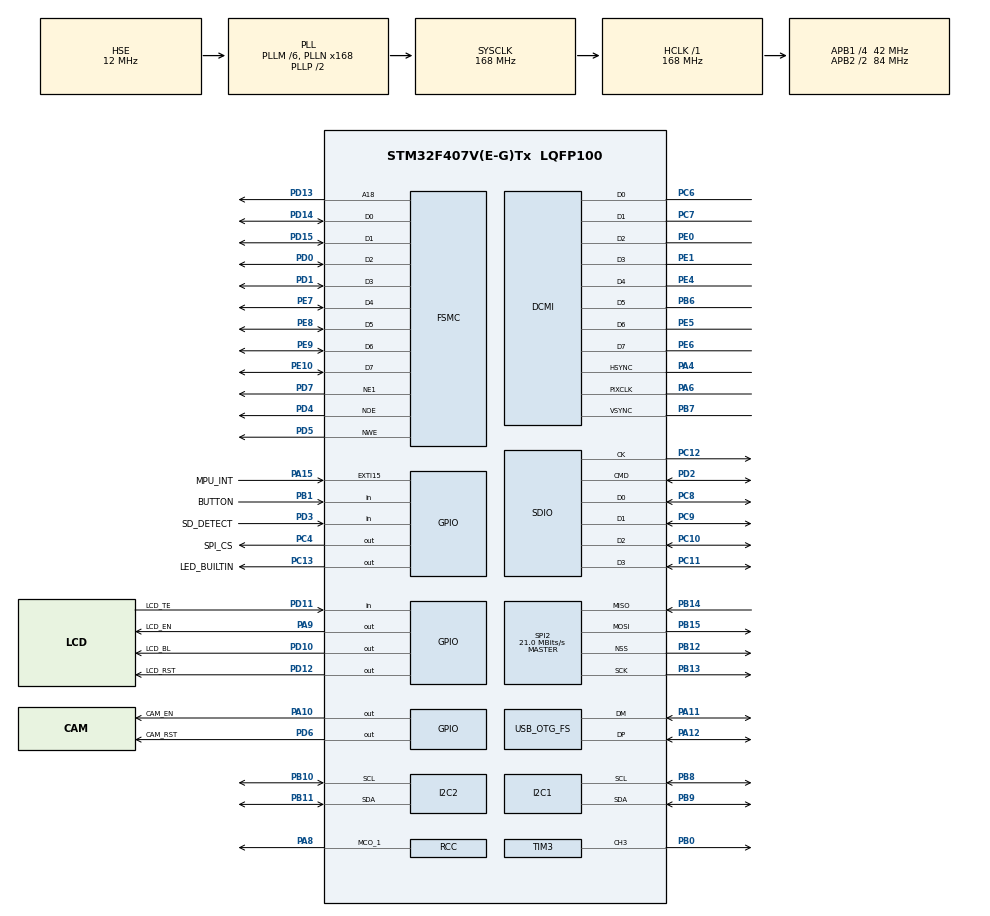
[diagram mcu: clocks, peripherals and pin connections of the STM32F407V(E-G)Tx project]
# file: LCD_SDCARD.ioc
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DCMI.JPEGMode=DCMI_JPEG_DISABLE
DCMI.PCKPolarity=DCMI_PCKPOLARITY_RISING
DCMI.VSPolarity=DCMI_VSPOLARITY_HIGH
Dma.DCMI.0.Direction=DMA_PERIPH_TO_MEMORY
Dma.DCMI.0.FIFOMode=DMA_FIFOMODE_DISABLE
Dma.DCMI.0.Instance=DMA2_Stream1
Dma.DCMI.0.MemDataAlignment=DMA_MDATAALIGN_WORD
Dma.DCMI.0.MemInc=DMA_MINC_ENABLE
Dma.DCMI.0.Mode=DMA_CIRCULAR
Dma.DCMI.0.PeriphDataAlignment=DMA_PDATAALIGN_WORD
Dma.DCMI.0.PeriphInc=DMA_PINC_DISABLE
Dma.DCMI.0.Priority=DMA_PRIORITY_VERY_HIGH
Dma.MEMTOMEM.1.Direction=DMA_MEMORY_TO_MEMORY
Dma.MEMTOMEM.1.FIFOMode=DMA_FIFOMODE_ENABLE
Dma.MEMTOMEM.1.FIFOThreshold=DMA_FIFO_THRESHOLD_FULL
Dma.MEMTOMEM.1.Instance=DMA2_Stream2
Dma.MEMTOMEM.1.MemBurst=DMA_MBURST_SINGLE
Dma.MEMTOMEM.1.MemDataAlignment=DMA_MDATAALIGN_HALFWORD
Dma.MEMTOMEM.1.MemInc=DMA_MINC_ENABLE
Dma.MEMTOMEM.1.Mode=DMA_NORMAL
Dma.MEMTOMEM.1.PeriphBurst=DMA_PBURST_SINGLE
Dma.MEMTOMEM.1.PeriphDataAlignment=DMA_PDATAALIGN_HALFWORD
Dma.MEMTOMEM.1.PeriphInc=DMA_PINC_DISABLE
Dma.MEMTOMEM.1.Priority=DMA_PRIORITY_VERY_HIGH
Dma.MEMTOMEM.2.Direction=DMA_MEMORY_TO_MEMORY
Dma.MEMTOMEM.2.FIFOMode=DMA_FIFOMODE_ENABLE
Dma.MEMTOMEM.2.FIFOThreshold=DMA_FIFO_THRESHOLD_FULL
Dma.MEMTOMEM.2.Instance=DMA2_Stream4
Dma.MEMTOMEM.2.MemBurst=DMA_MBURST_SINGLE
Dma.MEMTOMEM.2.MemDataAlignment=DMA_MDATAALIGN_HALFWORD
Dma.MEMTOMEM.2.MemInc=DMA_MINC_ENABLE
Dma.MEMTOMEM.2.Mode=DMA_NORMAL
Dma.MEMTOMEM.2.PeriphBurst=DMA_PBURST_SINGLE
Dma.MEMTOMEM.2.PeriphDataAlignment=DMA_PDATAALIGN_HALFWORD
Dma.MEMTOMEM.2.PeriphInc=DMA_PINC_ENABLE
Dma.MEMTOMEM.2.Priority=DMA_PRIORITY_VERY_HIGH
Dma.Request0=DCMI
Dma.Request1=MEMTOMEM
Dma.Request2=MEMTOMEM
Dma.Request3=SDIO_RX
Dma.Request4=SDIO_TX
Dma.SDIO_RX.3.Direction=DMA_PERIPH_TO_MEMORY
Dma.SDIO_RX.3.FIFOMode=DMA_FIFOMODE_ENABLE
Dma.SDIO_RX.3.FIFOThreshold=DMA_FIFO_THRESHOLD_FULL
Dma.SDIO_RX.3.Instance=DMA2_Stream3
Dma.SDIO_RX.3.MemBurst=DMA_MBURST_INC4
Dma.SDIO_RX.3.MemDataAlignment=DMA_MDATAALIGN_WORD
Dma.SDIO_RX.3.MemInc=DMA_MINC_ENABLE
Dma.SDIO_RX.3.Mode=DMA_PFCTRL
Dma.SDIO_RX.3.PeriphBurst=DMA_PBURST_INC4
Dma.SDIO_RX.3.PeriphDataAlignment=DMA_PDATAALIGN_WORD
Dma.SDIO_RX.3.PeriphInc=DMA_PINC_DISABLE
Dma.SDIO_RX.3.Priority=DMA_PRIORITY_HIGH
Dma.SDIO_TX.4.Direction=DMA_MEMORY_TO_PERIPH
Dma.SDIO_TX.4.FIFOMode=DMA_FIFOMODE_ENABLE
Dma.SDIO_TX.4.FIFOThreshold=DMA_FIFO_THRESHOLD_FULL
Dma.SDIO_TX.4.Instance=DMA2_Stream6
Dma.SDIO_TX.4.MemBurst=DMA_MBURST_INC4
Dma.SDIO_TX.4.MemDataAlignment=DMA_MDATAALIGN_WORD
Dma.SDIO_TX.4.MemInc=DMA_MINC_ENABLE
Dma.SDIO_TX.4.Mode=DMA_PFCTRL
Dma.SDIO_TX.4.PeriphBurst=DMA_PBURST_INC4
Dma.SDIO_TX.4.PeriphDataAlignment=DMA_PDATAALIGN_WORD
Dma.SDIO_TX.4.PeriphInc=DMA_PINC_DISABLE
Dma.SDIO_TX.4.Priority=DMA_PRIORITY_HIGH
FATFS.BSP.number=1
FATFS.USE_DMA_CODE_SD=0
FATFS._MAX_SS=4096
FATFS._USE_LFN=1
FATFS0.BSP.STBoard=false
FATFS0.BSP.api=Unknown
FATFS0.BSP.instance=PD3
FATFS0.BSP.ip=GPIO
FATFS0.BSP.mode=Input
FATFS0.BSP.name=Detect_SDIO
FATFS0.BSP.solution=PD3
FSMC.AddressSetupTime1=2
FSMC.BusTurnAroundDuration1=1
FSMC.DataSetupTime1=4
I2C1.I2C_Mode=I2C_Fast
I2C2.I2C_Mode=I2C_Standard
Mcu.Family=STM32F4
Mcu.Name=STM32F407V(E-G)Tx
Mcu.Package=LQFP100
NVIC.DCMI_IRQn=true\:0\:0\:false\:false\:true\:true\:true\:true
NVIC.DMA2_Stream1_IRQn=true\:0\:0\:false\:false\:true\:false\:true\:true
NVIC.DMA2_Stream3_IRQn=true\:0\:0\:false\:false\:true\:false\:true\:true
NVIC.DMA2_Stream6_IRQn=true\:0\:0\:false\:false\:true\:false\:true\:true
NVIC.OTG_FS_IRQn=true\:0\:0\:false\:false\:true\:false\:true\:true
NVIC.PriorityGroup=NVIC_PRIORITYGROUP_4
NVIC.SDIO_IRQn=true\:0\:0\:false\:false\:true\:true\:true\:true
NVIC.TIM1_UP_TIM10_IRQn=true\:15\:0\:false\:false\:true\:false\:true\:true
NVIC.TIM7_IRQn=true\:0\:0\:false\:false\:true\:true\:true\:true
NVIC.TIM8_TRG_COM_TIM14_IRQn=true\:0\:0\:false\:false\:true\:true\:true\:true
NVIC.TimeBase=TIM1_UP_TIM10_IRQn
NVIC.TimeBaseIP=TIM1
PA10.GPIO_Label=CAM_EN
PA10.GPIO_ModeDefaultOutputPP=GPIO_MODE_OUTPUT_OD
PA10.Signal=GPIO_Output
PA11.Mode=Device_Only
PA11.Signal=USB_OTG_FS_DM
PA12.Mode=Device_Only
PA12.Signal=USB_OTG_FS_DP
PA13.Mode=Serial_Wire
PA13.Signal=SYS_JTMS-SWDIO
PA14.Mode=Serial_Wire
PA14.Signal=SYS_JTCK-SWCLK
PA15.GPIO_Label=MPU_INT
PA15.GPIO_ModeDefaultEXTI=GPIO_MODE_IT_FALLING
PA15.GPIO_PuPd=GPIO_PULLUP
PA15.Signal=GPXTI15
PA4.GPIO_Speed=GPIO_SPEED_FREQ_VERY_HIGH
PA4.Mode=Slave_8_bits_External_Synchro
PA4.Signal=DCMI_HSYNC
PA6.GPIO_Speed=GPIO_SPEED_FREQ_VERY_HIGH
PA6.Mode=Slave_8_bits_External_Synchro
PA6.Signal=DCMI_PIXCLK
PA8.GPIO_Speed=GPIO_SPEED_FREQ_VERY_HIGH
PA8.Mode=Clock-out-1
PA8.Signal=RCC_MCO_1
PA9.GPIO_Label=LCD_EN
PA9.GPIO_ModeDefaultOutputPP=GPIO_MODE_OUTPUT_OD
PA9.Signal=GPIO_Output
PB0.Signal=S_TIM3_CH3
PB1.GPIO_Label=BUTTON
PB1.GPIO_PuPd=GPIO_PULLUP
PB1.Signal=GPIO_Input
PB10.GPIO_Pu=GPIO_PULLUP
PB10.Mode=I2C
PB10.Signal=I2C2_SCL
PB11.GPIO_Pu=GPIO_PULLUP
PB11.Mode=I2C
PB11.Signal=I2C2_SDA
PB12.Mode=NSS_Signal_Hard_Output
PB12.Signal=SPI2_NSS
PB13.Mode=Full_Duplex_Master
PB13.Signal=SPI2_SCK
PB14.Mode=Full_Duplex_Master
PB14.Signal=SPI2_MISO
PB15.Mode=Full_Duplex_Master
PB15.Signal=SPI2_MOSI
PB6.GPIO_Speed=GPIO_SPEED_FREQ_VERY_HIGH
PB6.Mode=Slave_8_bits_External_Synchro
PB6.Signal=DCMI_D5
PB7.GPIO_Speed=GPIO_SPEED_FREQ_VERY_HIGH
PB7.Mode=Slave_8_bits_External_Synchro
PB7.Signal=DCMI_VSYNC
PB8.GPIO_Pu=GPIO_PULLUP
PB8.Mode=I2C
PB8.Signal=I2C1_SCL
PB9.GPIO_Pu=GPIO_PULLUP
PB9.Mode=I2C
PB9.Signal=I2C1_SDA
PC10.GPIO_PuPd=GPIO_PULLUP
PC10.Mode=SD_4_bits_Wide_bus
PC10.Signal=SDIO_D2
PC11.GPIO_PuPd=GPIO_PULLUP
PC11.Mode=SD_4_bits_Wide_bus
PC11.Signal=SDIO_D3
PC12.GPIO_PuPd=GPIO_PULLUP
PC12.Mode=SD_4_bits_Wide_bus
PC12.Signal=SDIO_CK
PC13-ANTI_TAMP.GPIO_Label=LED_BUILTIN
PC13-ANTI_TAMP.Signal=GPIO_Output
PC14-OSC32_IN.Mode=LSE-External-Clock-Source
PC14-OSC32_IN.Signal=RCC_OSC32_IN
PC15-OSC32_OUT.Mode=LSE-External-Clock-Source
PC15-OSC32_OUT.Signal=RCC_OSC32_OUT
PC4.GPIO_Label=SPI_CS
PC4.GPIO_Speed=GPIO_SPEED_FREQ_VERY_HIGH
PC4.Signal=GPIO_Output
PC6.GPIO_Speed=GPIO_SPEED_FREQ_VERY_HIGH
PC6.Mode=Slave_8_bits_External_Synchro
PC6.Signal=DCMI_D0
PC7.GPIO_Speed=GPIO_SPEED_FREQ_VERY_HIGH
PC7.Mode=Slave_8_bits_External_Synchro
PC7.Signal=DCMI_D1
PC8.GPIO_PuPd=GPIO_PULLUP
PC8.Mode=SD_4_bits_Wide_bus
PC8.Signal=SDIO_D0
PC9.GPIO_PuPd=GPIO_PULLUP
PC9.Mode=SD_4_bits_Wide_bus
PC9.Signal=SDIO_D1
PD0.Mode=8b-d1
PD0.Signal=FSMC_D2
PD1.Mode=8b-d1
PD1.Signal=FSMC_D3
PD10.GPIO_Label=LCD_BL
PD10.GPIO_Speed=GPIO_SPEED_FREQ_VERY_HIGH
PD10.Signal=GPIO_Output
PD11.GPIO_Label=LCD_TE
PD11.Signal=GPIO_Input
PD12.GPIO_Label=LCD_RST
PD12.Signal=GPIO_Output
PD13.Mode=A18_1
PD13.Signal=FSMC_A18
PD14.Mode=8b-d1
PD14.Signal=FSMC_D0
PD15.Mode=8b-d1
PD15.Signal=FSMC_D1
PD2.GPIO_PuPd=GPIO_PULLUP
PD2.Mode=SD_4_bits_Wide_bus
PD2.Signal=SDIO_CMD
PD3.GPIO_Label=SD_DETECT
PD3.GPIO_PuPd=GPIO_PULLUP
PD3.Signal=GPIO_Input
PD4.Mode=Lcd1
PD4.Signal=FSMC_NOE
PD5.Mode=Lcd1
PD5.Signal=FSMC_NWE
PD6.GPIO_Label=CAM_RST
PD6.Signal=GPIO_Output
PD7.Mode=NorPsramChipSelect1_1
PD7.Signal=FSMC_NE1
PE0.GPIO_Speed=GPIO_SPEED_FREQ_VERY_HIGH
PE0.Mode=Slave_8_bits_External_Synchro
PE0.Signal=DCMI_D2
PE1.GPIO_Speed=GPIO_SPEED_FREQ_VERY_HIGH
PE1.Mode=Slave_8_bits_External_Synchro
PE1.Signal=DCMI_D3
PE10.Mode=8b-d1
PE10.Signal=FSMC_D7
PE4.GPIO_Speed=GPIO_SPEED_FREQ_VERY_HIGH
PE4.Mode=Slave_8_bits_External_Synchro
PE4.Signal=DCMI_D4
PE5.GPIO_Speed=GPIO_SPEED_FREQ_VERY_HIGH
PE5.Mode=Slave_8_bits_External_Synchro
PE5.Signal=DCMI_D6
PE6.GPIO_Speed=GPIO_SPEED_FREQ_VERY_HIGH
PE6.Mode=Slave_8_bits_External_Synchro
PE6.Signal=DCMI_D7
PE7.Mode=8b-d1
PE7.Signal=FSMC_D4
PE8.Mode=8b-d1
PE8.Signal=FSMC_D5
PE9.Mode=8b-d1
PE9.Signal=FSMC_D6
PH0-OSC_IN.Mode=HSE-External-Oscillator
PH0-OSC_IN.Signal=RCC_OSC_IN
PH1-OSC_OUT.Mode=HSE-External-Oscillator
PH1-OSC_OUT.Signal=RCC_OSC_OUT
ProjectManager.HeapSize=0x800
ProjectManager.StackSize=0x800
ProjectManager.TargetToolchain=STM32CubeIDE
RCC.48MHZClocksFreq_Value=48000000
RCC.AHBFreq_Value=168000000
RCC.APB1CLKDivider=RCC_HCLK_DIV4
RCC.APB1Freq_Value=42000000
RCC.APB1TimFreq_Value=84000000
RCC.APB2CLKDivider=RCC_HCLK_DIV2
RCC.APB2Freq_Value=84000000
RCC.APB2TimFreq_Value=168000000
RCC.CortexFreq_Value=168000000
RCC.HCLKFreq_Value=168000000
RCC.HSE_VALUE=12000000
RCC.HSI_VALUE=16000000
RCC.LSE_VALUE=32768
RCC.PLLM=6
RCC.PLLN=168
RCC.PLLQ=7
RCC.SYSCLKFreq_VALUE=168000000
RCC.SYSCLKSource=RCC_SYSCLKSOURCE_PLLCLK
RCC.VCOOutputFreq_Value=336000000
SDIO.ClockBypass=SDIO_CLOCK_BYPASS_DISABLE
SDIO.ClockDiv=6
SH.S_TIM3_CH3.0=TIM3_CH3,PWM Generation3 CH3
SPI2.CalculateBaudRate=21.0 MBits/s
SPI2.Direction=SPI_DIRECTION_2LINES
SPI2.Mode=SPI_MODE_MASTER
SPI2.VirtualNSS=VM_NSSHARD
SPI2.VirtualType=VM_MASTER
STMicroelectronics.X-CUBE-AI.10.0.0.ActivationBufferSizeList=1940
STMicroelectronics.X-CUBE-AI.10.0.0.ActivationBuffers=pool0
STMicroelectronics.X-CUBE-AI.10.0.0.ActivationNames=pool0
STMicroelectronics.X-CUBE-AI.10.0.0.ActivationSizes=AI_SINE_MODEL_DATA_ACTIVATION_1_SIZE
STMicroelectronics.X-CUBE-AI.10.0.0.HeapSize=0x800
STMicroelectronics.X-CUBE-AI.10.0.0.InternalRamActivationBufferMaxSize=AI_SINE_MODEL_DATA_ACTIVATIONS_SIZE
STMicroelectronics.X-CUBE-AI.10.0.0.LatestDirectoryUsed-f165e0510bb90ee12f32234d01c759a068e3e507d0a64d8100736226e8678322=C\:\\Users\\munir\\Documents\\PROJECT-2025\\STM32-AI
STMicroelectronics.X-CUBE-AI.10.0.0.MaximumNumberOfInputLayer=1
STMicroelectronics.X-CUBE-AI.10.0.0.MaximumNumberOfOutputLayer=1
STMicroelectronics.X-CUBE-AI.10.0.0.MaximumSizeOfInputLayer=1
STMicroelectronics.X-CUBE-AI.10.0.0.MaximumSizeOfOutputLayer=1
STMicroelectronics.X-CUBE-AI.10.0.0.ModelActualCompression-f165e0510bb90ee12f32234d01c759a068e3e507d0a64d8100736226e8678322=0.0
STMicroelectronics.X-CUBE-AI.10.0.0.ModelCompression-f165e0510bb90ee12f32234d01c759a068e3e507d0a64d8100736226e8678322=None
STMicroelectronics.X-CUBE-AI.10.0.0.ModelFlashOccupation-f165e0510bb90ee12f32234d01c759a068e3e507d0a64d8100736226e8678322=10126
STMicroelectronics.X-CUBE-AI.10.0.0.ModelHashList=f165e0510bb90ee12f32234d01c759a068e3e507d0a64d8100736226e8678322
STMicroelectronics.X-CUBE-AI.10.0.0.ModelKind-f165e0510bb90ee12f32234d01c759a068e3e507d0a64d8100736226e8678322=TFLITE
STMicroelectronics.X-CUBE-AI.10.0.0.ModelMacc-f165e0510bb90ee12f32234d01c759a068e3e507d0a64d8100736226e8678322=353
STMicroelectronics.X-CUBE-AI.10.0.0.ModelName-f165e0510bb90ee12f32234d01c759a068e3e507d0a64d8100736226e8678322=sine_model
STMicroelectronics.X-CUBE-AI.10.0.0.ModelNameList=sine_model
STMicroelectronics.X-CUBE-AI.10.0.0.ModelRamOccupation-f165e0510bb90ee12f32234d01c759a068e3e507d0a64d8100736226e8678322=1940
STMicroelectronics.X-CUBE-AI.10.0.0.ModelStructureFile-f165e0510bb90ee12f32234d01c759a068e3e507d0a64d8100736226e8678322=C\:\\Users\\munir\\Documents\\PROJECT-2025\\STM32-AI\\sine_model.tflite
STMicroelectronics.X-CUBE-AI.10.0.0.ModelType-f165e0510bb90ee12f32234d01c759a068e3e507d0a64d8100736226e8678322=STM32Cube.AI MCU runtime
STMicroelectronics.X-CUBE-AI.10.0.0.ReadyForCodeGeneration=true
STMicroelectronics.X-CUBE-AI.10.0.0.StackSize=0x800
STMicroelectronics.X-CUBE-AI.10.0.0.WorkingBufferStartAddrList=0xFFFFFFFF
STMicroelectronics.X-CUBE-AI.10.0.0.XAaCUBEAaAICcArtificialOoIntelligenceJjCore=true
STMicroelectronics.X-CUBE-AI.10.0.0.copyWeightToRam=false
STMicroelectronics.X-CUBE-AI.10.0.0.copyWeightToRam-f165e0510bb90ee12f32234d01c759a068e3e507d0a64d8100736226e8678322=false
STMicroelectronics.X-CUBE-AI.10.0.0.customLayerConfigEnabled=false
STMicroelectronics.X-CUBE-AI.10.0.0.customLayerConfigEnabled-f165e0510bb90ee12f32234d01c759a068e3e507d0a64d8100736226e8678322=false
STMicroelectronics.X-CUBE-AI.10.0.0.noOnnxIoTranspose=false
STMicroelectronics.X-CUBE-AI.10.0.0.noOnnxIoTranspose-f165e0510bb90ee12f32234d01c759a068e3e507d0a64d8100736226e8678322=false
STMicroelectronics.X-CUBE-AI.10.0.0.useInputAllocation=true
STMicroelectronics.X-CUBE-AI.10.0.0.useInputAllocation-f165e0510bb90ee12f32234d01c759a068e3e507d0a64d8100736226e8678322=true
STMicroelectronics.X-CUBE-AI.10.0.0.useOutputAllocation=true
STMicroelectronics.X-CUBE-AI.10.0.0.useOutputAllocation-f165e0510bb90ee12f32234d01c759a068e3e507d0a64d8100736226e8678322=true
STMicroelectronics.X-CUBE-DISPLAY.3.0.0.BSP.number=1
STMicroelectronics.X-CUBE-DISPLAY.3.0.0.p_fmc_dma_instance_name=DMA1_Channel1
STMicroelectronics.X-CUBE-DISPLAY.3.0.00.BSP.STBoard=false
STMicroelectronics.X-CUBE-DISPLAY.3.0.00.BSP.api=Unknown
STMicroelectronics.X-CUBE-DISPLAY.3.0.00.BSP.condition=SEMDISPLAYCcBoardOoPartJjLCDJjST7789VJjSPI | SEMDISPLAYCcBoardOoPartJjLCDJjST7789VJjFMC
STMicroelectronics.X-CUBE-DISPLAY.3.0.00.BSP.instance=PD12
STMicroelectronics.X-CUBE-DISPLAY.3.0.00.BSP.ip=GPIO
STMicroelectronics.X-CUBE-DISPLAY.3.0.00.BSP.mode=Output
STMicroelectronics.X-CUBE-DISPLAY.3.0.00.BSP.name=LCD RESET Pin
STMicroelectronics.X-CUBE-DISPLAY.3.0.00.BSP.solution=PD12
STMicroelectronics.X-CUBE-DISPLAY.3.0.0_IsPackSelfContextualization=true
TIM14.Channel=TIM_CHANNEL_1
TIM14.OCMode_1=TIM_OCMODE_ACTIVE
TIM14.Period=255
TIM14.Prescaler=168
TIM2.Prescaler=84
TIM3.AutoReloadPreload=TIM_AUTORELOAD_PRELOAD_ENABLE
TIM3.Channel-PWM\ Generation3\ CH3=TIM_CHANNEL_3
TIM3.Period=839
TIM3.Prescaler=7
TIM7.Period=100
TIM7.Prescaler=167
USB_DEVICE.CLASS_NAME_FS=MSC
USB_DEVICE.VirtualMode-MSC_FS=Msc
USB_DEVICE.VirtualModeFS=Msc_FS
USB_OTG_FS.VirtualMode=Device_Only
VP_CRC_VS_CRC.Mode=CRC_Activate
VP_FATFS_VS_SDIO.Mode=SDIO
VP_LIBJPEG_VS_JPEGLIB.Mode=Enabled
VP_STMicroelectronics.X-CUBE-AI_VS_ArtificialOoIntelligenceJjXAaCUBEAaAI_10.0.0.Mode=ArtificialOoIntelligenceJjXAaCUBEAaAI
VP_SYS_VS_tim1.Mode=TIM1
VP_TIM14_VS_ClockSourceINT.Mode=Enable_Timer
VP_TIM14_VS_no_output1.Mode=Output Compare1 No Output
VP_TIM2_VS_ClockSourceINT.Mode=Internal
VP_TIM3_VS_ClockSourceINT.Mode=Internal
VP_TIM7_VS_ClockSourceINT.Mode=Enable_Timer
VP_USB_DEVICE_VS_USB_DEVICE_MSC_FS.Mode=MSC_FS
board=custom

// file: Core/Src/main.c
/* USER CODE BEGIN Header */
/**
  ******************************************************************************
  * @file           : main.c
  * @brief          : Main program body
  ******************************************************************************
  * @attention
  *
  * <h2><center>&copy; Copyright (c) 2021 STMicroelectronics.
  * All rights reserved.</center></h2>
  *
  * This software component is licensed by ST under Ultimate Liberty license
  * SLA0044, the "License"; You may not use this file except in compliance with
  * the License. You may obtain a copy of the License at:
  *                             www.st.com/SLA0044
  *
  ******************************************************************************
  */
/* USER CODE END Header */
#include "main.h"
#include "fatfs.h"
#include "libjpeg.h"
#include "usb_device.h"

/* USER CODE BEGIN Includes */
#include "stdio.h"
#include "stdlib.h"
#include "math.h"
#include "ff.h"

#include "image_bin.h"
#include "jpeg_view.h"
#include "sirojuLIB_ov7670_SCCB.h"
#include "sirojuLIB_st7789.h"
#include "app_camera.h"
#include "app_lcd.h"
#include "bitmap_handler.h"
#include "file_explorer.h"

/* USER CODE END Includes */

/* USER CODE BEGIN PD */

#define MY_SDIO_INIT

#define APP_ADDRESS 0x08008000

/* USER CODE END PD */

CRC_HandleTypeDef hcrc;

DCMI_HandleTypeDef hdcmi;
DMA_HandleTypeDef hdma_dcmi;

I2C_HandleTypeDef hi2c1;
I2C_HandleTypeDef hi2c2;

SD_HandleTypeDef hsd;
DMA_HandleTypeDef hdma_sdio_rx;
DMA_HandleTypeDef hdma_sdio_tx;

SPI_HandleTypeDef hspi2;

TIM_HandleTypeDef htim2;
TIM_HandleTypeDef htim3;
TIM_HandleTypeDef htim7;
TIM_HandleTypeDef htim14;

DMA_HandleTypeDef hdma_memtomem_dma2_stream2;
DMA_HandleTypeDef hdma_memtomem_dma2_stream4;
SRAM_HandleTypeDef hsram1;

/* USER CODE BEGIN PV */

uint8_t camera_buffer[LCD_WIDTH*2] __attribute__((aligned(32)));
uint8_t frame_color_mask[LCD_WIDTH*LCD_HEIGHT / 8] __attribute__((section(".ccmram")));

/* USER CODE END PV */

void SystemClock_Config(void);
static void MX_GPIO_Init(void);
static void MX_DMA_Init(void);
static void MX_DCMI_Init(void);
static void MX_FSMC_Init(void);
static void MX_I2C1_Init(void);
static void MX_I2C2_Init(void);
static void MX_TIM3_Init(void);
static void MX_TIM7_Init(void);
static void MX_TIM2_Init(void);
static void MX_SDIO_SD_Init(void);
static void MX_SPI2_Init(void);
static void MX_TIM14_Init(void);
static void MX_CRC_Init(void);

int main(void)
{
  /* USER CODE BEGIN 1 */
	HAL_DeInit();
  /* USER CODE END 1 */

  /* MCU Configuration--------------------------------------------------------*/

  /* Reset of all peripherals, Initializes the Flash interface and the Systick. */
  HAL_Init();

  /* Configure the system clock */
  SystemClock_Config();

  /* Initialize all configured peripherals */
  MX_GPIO_Init();
  MX_DMA_Init();
  MX_DCMI_Init();
  MX_FSMC_Init();
//  MX_USB_DEVICE_Init();
  MX_I2C1_Init();
  MX_I2C2_Init();
  MX_TIM3_Init();
  MX_TIM7_Init();
  MX_TIM2_Init();
  MX_SDIO_SD_Init();
  MX_FATFS_Init();
  MX_SPI2_Init();
  MX_TIM14_Init();
  MX_CRC_Init();
  MX_LIBJPEG_Init();
  /* USER CODE BEGIN 2 */

  //https://www.freeconvert.com/gif-to-bmp
  lcd_init();
  lcd_set_backlight (50);

  text_set_color (0x07e0, 0x0000);
  text_clear_all ();
  lcd_print("FIRMWARE VERSION: 2.3.0\n");
  text_update_all();

  load_sd_card ();
//  HAL_Delay(100);

//  ST7789_Fill (0x0);
//  ST7789_printImage(60, 60, 120, 120, dudububu, _LSB_FIRST);
  HAL_Delay(3000);

  text_clear_all ();
  MX_USB_DEVICE_Init();

  camera_init ();
  camera_crop (0, 0, LCD_WIDTH*2-1, LCD_HEIGHT*2-1);

  /* USER CODE END 2 */

  /* Infinite loop */
  /* USER CODE BEGIN WHILE */
  while (1)
  {
	  show_file();

    /* USER CODE END WHILE */

  }
}

void SystemClock_Config(void)
{
  RCC_OscInitTypeDef RCC_OscInitStruct = {0};
  RCC_ClkInitTypeDef RCC_ClkInitStruct = {0};

  /** Configure the main internal regulator output voltage
  */
  __HAL_RCC_PWR_CLK_ENABLE();
  __HAL_PWR_VOLTAGESCALING_CONFIG(PWR_REGULATOR_VOLTAGE_SCALE1);

  /** Initializes the RCC Oscillators according to the specified parameters
  * in the RCC_OscInitTypeDef structure.
  */
  RCC_OscInitStruct.OscillatorType = RCC_OSCILLATORTYPE_HSI|RCC_OSCILLATORTYPE_HSE;
  RCC_OscInitStruct.HSEState = RCC_HSE_ON;
  RCC_OscInitStruct.HSIState = RCC_HSI_ON;
  RCC_OscInitStruct.HSICalibrationValue = RCC_HSICALIBRATION_DEFAULT;
  RCC_OscInitStruct.PLL.PLLState = RCC_PLL_ON;
  RCC_OscInitStruct.PLL.PLLSource = RCC_PLLSOURCE_HSE;
  RCC_OscInitStruct.PLL.PLLM = 6;
  RCC_OscInitStruct.PLL.PLLN = 168;
  RCC_OscInitStruct.PLL.PLLP = RCC_PLLP_DIV2;
  RCC_OscInitStruct.PLL.PLLQ = 7;
  if (HAL_RCC_OscConfig(&RCC_OscInitStruct) != HAL_OK)
  {
    Error_Handler();
  }

  /** Initializes the CPU, AHB and APB buses clocks
  */
  RCC_ClkInitStruct.ClockType = RCC_CLOCKTYPE_HCLK|RCC_CLOCKTYPE_SYSCLK
                              |RCC_CLOCKTYPE_PCLK1|RCC_CLOCKTYPE_PCLK2;
  RCC_ClkInitStruct.SYSCLKSource = RCC_SYSCLKSOURCE_PLLCLK;
  RCC_ClkInitStruct.AHBCLKDivider = RCC_SYSCLK_DIV1;
  RCC_ClkInitStruct.APB1CLKDivider = RCC_HCLK_DIV4;
  RCC_ClkInitStruct.APB2CLKDivider = RCC_HCLK_DIV2;

  if (HAL_RCC_ClockConfig(&RCC_ClkInitStruct, FLASH_LATENCY_5) != HAL_OK)
  {
    Error_Handler();
  }
  HAL_RCC_MCOConfig(RCC_MCO1, RCC_MCO1SOURCE_HSI, RCC_MCODIV_1);
}

static void MX_CRC_Init(void)
{

  hcrc.Instance = CRC;
  if (HAL_CRC_Init(&hcrc) != HAL_OK)
  {
    Error_Handler();
  }

}

static void MX_DCMI_Init(void)
{

  hdcmi.Instance = DCMI;
  hdcmi.Init.SynchroMode = DCMI_SYNCHRO_HARDWARE;
  hdcmi.Init.PCKPolarity = DCMI_PCKPOLARITY_RISING;
  hdcmi.Init.VSPolarity = DCMI_VSPOLARITY_HIGH;
  hdcmi.Init.HSPolarity = DCMI_HSPOLARITY_LOW;
  hdcmi.Init.CaptureRate = DCMI_CR_ALL_FRAME;
  hdcmi.Init.ExtendedDataMode = DCMI_EXTEND_DATA_8B;
  hdcmi.Init.JPEGMode = DCMI_JPEG_DISABLE;
  if (HAL_DCMI_Init(&hdcmi) != HAL_OK)
  {
    Error_Handler();
  }

}

static void MX_I2C1_Init(void)
{

  hi2c1.Instance = I2C1;
  hi2c1.Init.ClockSpeed = 400000;
  hi2c1.Init.DutyCycle = I2C_DUTYCYCLE_2;
  hi2c1.Init.OwnAddress1 = 0;
  hi2c1.Init.AddressingMode = I2C_ADDRESSINGMODE_7BIT;
  hi2c1.Init.DualAddressMode = I2C_DUALADDRESS_DISABLE;
  hi2c1.Init.OwnAddress2 = 0;
  hi2c1.Init.GeneralCallMode = I2C_GENERALCALL_DISABLE;
  hi2c1.Init.NoStretchMode = I2C_NOSTRETCH_DISABLE;
  if (HAL_I2C_Init(&hi2c1) != HAL_OK)
  {
    Error_Handler();
  }

}

static void MX_I2C2_Init(void)
{

  hi2c2.Instance = I2C2;
  hi2c2.Init.ClockSpeed = 100000;
  hi2c2.Init.DutyCycle = I2C_DUTYCYCLE_2;
  hi2c2.Init.OwnAddress1 = 0;
  hi2c2.Init.AddressingMode = I2C_ADDRESSINGMODE_7BIT;
  hi2c2.Init.DualAddressMode = I2C_DUALADDRESS_DISABLE;
  hi2c2.Init.OwnAddress2 = 0;
  hi2c2.Init.GeneralCallMode = I2C_GENERALCALL_DISABLE;
  hi2c2.Init.NoStretchMode = I2C_NOSTRETCH_DISABLE;
  if (HAL_I2C_Init(&hi2c2) != HAL_OK)
  {
    Error_Handler();
  }

}

static void MX_SDIO_SD_Init(void)
{

  /* USER CODE BEGIN SDIO_Init 1 */
#ifdef MY_SDIO_INIT
  hsd.Instance = SDIO;
  hsd.Init.ClockEdge = SDIO_CLOCK_EDGE_RISING;
  hsd.Init.ClockBypass = SDIO_CLOCK_BYPASS_DISABLE;
  hsd.Init.ClockPowerSave = SDIO_CLOCK_POWER_SAVE_DISABLE;
  hsd.Init.BusWide = SDIO_BUS_WIDE_1B;
  hsd.Init.HardwareFlowControl = SDIO_HARDWARE_FLOW_CONTROL_DISABLE;
  hsd.Init.ClockDiv = 18;

  if (HAL_SD_Init(&hsd) != HAL_OK)
  {
      Error_Handler();
  }
  if (HAL_SD_ConfigWideBusOperation(&hsd, SDIO_BUS_WIDE_4B) != HAL_OK)
  {
      Error_Handler();
  }
#else
  /* USER CODE END SDIO_Init 1 */
  hsd.Instance = SDIO;
  hsd.Init.ClockEdge = SDIO_CLOCK_EDGE_RISING;
  hsd.Init.ClockBypass = SDIO_CLOCK_BYPASS_DISABLE;
  hsd.Init.ClockPowerSave = SDIO_CLOCK_POWER_SAVE_DISABLE;
  hsd.Init.BusWide = SDIO_BUS_WIDE_4B;
  hsd.Init.HardwareFlowControl = SDIO_HARDWARE_FLOW_CONTROL_DISABLE;
  hsd.Init.ClockDiv = 6;
  /* USER CODE BEGIN SDIO_Init 2 */
#endif

  /* USER CODE END SDIO_Init 2 */

}

static void MX_SPI2_Init(void)
{

  /* SPI2 parameter configuration*/
  hspi2.Instance = SPI2;
  hspi2.Init.Mode = SPI_MODE_MASTER;
  hspi2.Init.Direction = SPI_DIRECTION_2LINES;
  hspi2.Init.DataSize = SPI_DATASIZE_8BIT;
  hspi2.Init.CLKPolarity = SPI_POLARITY_LOW;
  hspi2.Init.CLKPhase = SPI_PHASE_1EDGE;
  hspi2.Init.NSS = SPI_NSS_HARD_OUTPUT;
  hspi2.Init.BaudRatePrescaler = SPI_BAUDRATEPRESCALER_2;
  hspi2.Init.FirstBit = SPI_FIRSTBIT_MSB;
  hspi2.Init.TIMode = SPI_TIMODE_DISABLE;
  hspi2.Init.CRCCalculation = SPI_CRCCALCULATION_DISABLE;
  hspi2.Init.CRCPolynomial = 10;
  if (HAL_SPI_Init(&hspi2) != HAL_OK)
  {
    Error_Handler();
  }

}

static void MX_TIM2_Init(void)
{

  TIM_ClockConfigTypeDef sClockSourceConfig = {0};
  TIM_MasterConfigTypeDef sMasterConfig = {0};

  htim2.Instance = TIM2;
  htim2.Init.Prescaler = 84;
  htim2.Init.CounterMode = TIM_COUNTERMODE_UP;
  htim2.Init.Period = 4294967295;
  htim2.Init.ClockDivision = TIM_CLOCKDIVISION_DIV1;
  htim2.Init.AutoReloadPreload = TIM_AUTORELOAD_PRELOAD_DISABLE;
  if (HAL_TIM_Base_Init(&htim2) != HAL_OK)
  {
    Error_Handler();
  }
  sClockSourceConfig.ClockSource = TIM_CLOCKSOURCE_INTERNAL;
  if (HAL_TIM_ConfigClockSource(&htim2, &sClockSourceConfig) != HAL_OK)
  {
    Error_Handler();
  }
  sMasterConfig.MasterOutputTrigger = TIM_TRGO_RESET;
  sMasterConfig.MasterSlaveMode = TIM_MASTERSLAVEMODE_DISABLE;
  if (HAL_TIMEx_MasterConfigSynchronization(&htim2, &sMasterConfig) != HAL_OK)
  {
    Error_Handler();
  }

}

static void MX_TIM3_Init(void)
{

  TIM_ClockConfigTypeDef sClockSourceConfig = {0};
  TIM_MasterConfigTypeDef sMasterConfig = {0};
  TIM_OC_InitTypeDef sConfigOC = {0};

  htim3.Instance = TIM3;
  htim3.Init.Prescaler = 7;
  htim3.Init.CounterMode = TIM_COUNTERMODE_UP;
  htim3.Init.Period = 839;
  htim3.Init.ClockDivision = TIM_CLOCKDIVISION_DIV1;
  htim3.Init.AutoReloadPreload = TIM_AUTORELOAD_PRELOAD_ENABLE;
  if (HAL_TIM_Base_Init(&htim3) != HAL_OK)
  {
    Error_Handler();
  }
  sClockSourceConfig.ClockSource = TIM_CLOCKSOURCE_INTERNAL;
  if (HAL_TIM_ConfigClockSource(&htim3, &sClockSourceConfig) != HAL_OK)
  {
    Error_Handler();
  }
  if (HAL_TIM_PWM_Init(&htim3) != HAL_OK)
  {
    Error_Handler();
  }
  sMasterConfig.MasterOutputTrigger = TIM_TRGO_RESET;
  sMasterConfig.MasterSlaveMode = TIM_MASTERSLAVEMODE_DISABLE;
  if (HAL_TIMEx_MasterConfigSynchronization(&htim3, &sMasterConfig) != HAL_OK)
  {
    Error_Handler();
  }
  sConfigOC.OCMode = TIM_OCMODE_PWM1;
  sConfigOC.Pulse = 0;
  sConfigOC.OCPolarity = TIM_OCPOLARITY_HIGH;
  sConfigOC.OCFastMode = TIM_OCFAST_DISABLE;
  if (HAL_TIM_PWM_ConfigChannel(&htim3, &sConfigOC, TIM_CHANNEL_3) != HAL_OK)
  {
    Error_Handler();
  }
  HAL_TIM_MspPostInit(&htim3);

}

static void MX_TIM7_Init(void)
{

  TIM_MasterConfigTypeDef sMasterConfig = {0};

  htim7.Instance = TIM7;
  htim7.Init.Prescaler = 167;
  htim7.Init.CounterMode = TIM_COUNTERMODE_UP;
  htim7.Init.Period = 100;
  htim7.Init.AutoReloadPreload = TIM_AUTORELOAD_PRELOAD_DISABLE;
  if (HAL_TIM_Base_Init(&htim7) != HAL_OK)
  {
    Error_Handler();
  }
  sMasterConfig.MasterOutputTrigger = TIM_TRGO_RESET;
  sMasterConfig.MasterSlaveMode = TIM_MASTERSLAVEMODE_DISABLE;
  if (HAL_TIMEx_MasterConfigSynchronization(&htim7, &sMasterConfig) != HAL_OK)
  {
    Error_Handler();
  }

}

static void MX_TIM14_Init(void)
{

  TIM_OC_InitTypeDef sConfigOC = {0};

  htim14.Instance = TIM14;
  htim14.Init.Prescaler = 168;
  htim14.Init.CounterMode = TIM_COUNTERMODE_UP;
  htim14.Init.Period = 255;
  htim14.Init.ClockDivision = TIM_CLOCKDIVISION_DIV1;
  htim14.Init.AutoReloadPreload = TIM_AUTORELOAD_PRELOAD_DISABLE;
  if (HAL_TIM_Base_Init(&htim14) != HAL_OK)
  {
    Error_Handler();
  }
  if (HAL_TIM_OC_Init(&htim14) != HAL_OK)
  {
    Error_Handler();
  }
  sConfigOC.OCMode = TIM_OCMODE_ACTIVE;
  sConfigOC.Pulse = 0;
  sConfigOC.OCPolarity = TIM_OCPOLARITY_HIGH;
  sConfigOC.OCFastMode = TIM_OCFAST_DISABLE;
  if (HAL_TIM_OC_ConfigChannel(&htim14, &sConfigOC, TIM_CHANNEL_1) != HAL_OK)
  {
    Error_Handler();
  }

}

static void MX_DMA_Init(void)
{

  /* DMA controller clock enable */
  __HAL_RCC_DMA2_CLK_ENABLE();

  /* Configure DMA request hdma_memtomem_dma2_stream2 on DMA2_Stream2 */
  hdma_memtomem_dma2_stream2.Instance = DMA2_Stream2;
  hdma_memtomem_dma2_stream2.Init.Channel = DMA_CHANNEL_0;
  hdma_memtomem_dma2_stream2.Init.Direction = DMA_MEMORY_TO_MEMORY;
  hdma_memtomem_dma2_stream2.Init.PeriphInc = DMA_PINC_DISABLE;
  hdma_memtomem_dma2_stream2.Init.MemInc = DMA_MINC_ENABLE;
  hdma_memtomem_dma2_stream2.Init.PeriphDataAlignment = DMA_PDATAALIGN_HALFWORD;
  hdma_memtomem_dma2_stream2.Init.MemDataAlignment = DMA_MDATAALIGN_HALFWORD;
  hdma_memtomem_dma2_stream2.Init.Mode = DMA_NORMAL;
  hdma_memtomem_dma2_stream2.Init.Priority = DMA_PRIORITY_VERY_HIGH;
  hdma_memtomem_dma2_stream2.Init.FIFOMode = DMA_FIFOMODE_ENABLE;
  hdma_memtomem_dma2_stream2.Init.FIFOThreshold = DMA_FIFO_THRESHOLD_FULL;
  hdma_memtomem_dma2_stream2.Init.MemBurst = DMA_MBURST_SINGLE;
  hdma_memtomem_dma2_stream2.Init.PeriphBurst = DMA_PBURST_SINGLE;
  if (HAL_DMA_Init(&hdma_memtomem_dma2_stream2) != HAL_OK)
  {
    Error_Handler( );
  }

  /* Configure DMA request hdma_memtomem_dma2_stream4 on DMA2_Stream4 */
  hdma_memtomem_dma2_stream4.Instance = DMA2_Stream4;
  hdma_memtomem_dma2_stream4.Init.Channel = DMA_CHANNEL_0;
  hdma_memtomem_dma2_stream4.Init.Direction = DMA_MEMORY_TO_MEMORY;
  hdma_memtomem_dma2_stream4.Init.PeriphInc = DMA_PINC_ENABLE;
  hdma_memtomem_dma2_stream4.Init.MemInc = DMA_MINC_ENABLE;
  hdma_memtomem_dma2_stream4.Init.PeriphDataAlignment = DMA_PDATAALIGN_HALFWORD;
  hdma_memtomem_dma2_stream4.Init.MemDataAlignment = DMA_MDATAALIGN_HALFWORD;
  hdma_memtomem_dma2_stream4.Init.Mode = DMA_NORMAL;
  hdma_memtomem_dma2_stream4.Init.Priority = DMA_PRIORITY_VERY_HIGH;
  hdma_memtomem_dma2_stream4.Init.FIFOMode = DMA_FIFOMODE_ENABLE;
  hdma_memtomem_dma2_stream4.Init.FIFOThreshold = DMA_FIFO_THRESHOLD_FULL;
  hdma_memtomem_dma2_stream4.Init.MemBurst = DMA_MBURST_SINGLE;
  hdma_memtomem_dma2_stream4.Init.PeriphBurst = DMA_PBURST_SINGLE;
  if (HAL_DMA_Init(&hdma_memtomem_dma2_stream4) != HAL_OK)
  {
    Error_Handler( );
  }

  /* DMA interrupt init */
  /* DMA2_Stream1_IRQn interrupt configuration */
  HAL_NVIC_SetPriority(DMA2_Stream1_IRQn, 0, 0);
  HAL_NVIC_EnableIRQ(DMA2_Stream1_IRQn);
  /* DMA2_Stream3_IRQn interrupt configuration */
  HAL_NVIC_SetPriority(DMA2_Stream3_IRQn, 0, 0);
  HAL_NVIC_EnableIRQ(DMA2_Stream3_IRQn);
  /* DMA2_Stream6_IRQn interrupt configuration */
  HAL_NVIC_SetPriority(DMA2_Stream6_IRQn, 0, 0);
  HAL_NVIC_EnableIRQ(DMA2_Stream6_IRQn);

}

static void MX_GPIO_Init(void)
{
  GPIO_InitTypeDef GPIO_InitStruct = {0};

  /* GPIO Ports Clock Enable */
  __HAL_RCC_GPIOE_CLK_ENABLE();
  __HAL_RCC_GPIOC_CLK_ENABLE();
  __HAL_RCC_GPIOH_CLK_ENABLE();
  __HAL_RCC_GPIOA_CLK_ENABLE();
  __HAL_RCC_GPIOB_CLK_ENABLE();
  __HAL_RCC_GPIOD_CLK_ENABLE();

  /*Configure GPIO pin Output Level */
  HAL_GPIO_WritePin(GPIOC, LED_BUILTIN_Pin|SPI_CS_Pin, GPIO_PIN_RESET);

  /*Configure GPIO pin Output Level */
  HAL_GPIO_WritePin(GPIOD, LCD_BL_Pin|LCD_RST_Pin|CAM_RST_Pin, GPIO_PIN_RESET);

  /*Configure GPIO pin Output Level */
  HAL_GPIO_WritePin(GPIOA, LCD_EN_Pin|CAM_EN_Pin, GPIO_PIN_RESET);

  /*Configure GPIO pin : LED_BUILTIN_Pin */
  GPIO_InitStruct.Pin = LED_BUILTIN_Pin;
  GPIO_InitStruct.Mode = GPIO_MODE_OUTPUT_PP;
  GPIO_InitStruct.Pull = GPIO_NOPULL;
  GPIO_InitStruct.Speed = GPIO_SPEED_FREQ_LOW;
  HAL_GPIO_Init(LED_BUILTIN_GPIO_Port, &GPIO_InitStruct);

  /*Configure GPIO pin : SPI_CS_Pin */
  GPIO_InitStruct.Pin = SPI_CS_Pin;
  GPIO_InitStruct.Mode = GPIO_MODE_OUTPUT_PP;
  GPIO_InitStruct.Pull = GPIO_NOPULL;
  GPIO_InitStruct.Speed = GPIO_SPEED_FREQ_VERY_HIGH;
  HAL_GPIO_Init(SPI_CS_GPIO_Port, &GPIO_InitStruct);

  /*Configure GPIO pin : BUTTON_Pin */
  GPIO_InitStruct.Pin = BUTTON_Pin;
  GPIO_InitStruct.Mode = GPIO_MODE_INPUT;
  GPIO_InitStruct.Pull = GPIO_PULLUP;
  HAL_GPIO_Init(BUTTON_GPIO_Port, &GPIO_InitStruct);

  /*Configure GPIO pin : LCD_BL_Pin */
  GPIO_InitStruct.Pin = LCD_BL_Pin;
  GPIO_InitStruct.Mode = GPIO_MODE_OUTPUT_PP;
  GPIO_InitStruct.Pull = GPIO_NOPULL;
  GPIO_InitStruct.Speed = GPIO_SPEED_FREQ_VERY_HIGH;
  HAL_GPIO_Init(LCD_BL_GPIO_Port, &GPIO_InitStruct);

  /*Configure GPIO pin : LCD_TE_Pin */
  GPIO_InitStruct.Pin = LCD_TE_Pin;
  GPIO_InitStruct.Mode = GPIO_MODE_INPUT;
  GPIO_InitStruct.Pull = GPIO_NOPULL;
  HAL_GPIO_Init(LCD_TE_GPIO_Port, &GPIO_InitStruct);

  /*Configure GPIO pins : LCD_RST_Pin CAM_RST_Pin */
  GPIO_InitStruct.Pin = LCD_RST_Pin|CAM_RST_Pin;
  GPIO_InitStruct.Mode = GPIO_MODE_OUTPUT_PP;
  GPIO_InitStruct.Pull = GPIO_NOPULL;
  GPIO_InitStruct.Speed = GPIO_SPEED_FREQ_LOW;
  HAL_GPIO_Init(GPIOD, &GPIO_InitStruct);

  /*Configure GPIO pin : PA8 */
  GPIO_InitStruct.Pin = GPIO_PIN_8;
  GPIO_InitStruct.Mode = GPIO_MODE_AF_PP;
  GPIO_InitStruct.Pull = GPIO_NOPULL;
  GPIO_InitStruct.Speed = GPIO_SPEED_FREQ_VERY_HIGH;
  GPIO_InitStruct.Alternate = GPIO_AF0_MCO;
  HAL_GPIO_Init(GPIOA, &GPIO_InitStruct);

  /*Configure GPIO pins : LCD_EN_Pin CAM_EN_Pin */
  GPIO_InitStruct.Pin = LCD_EN_Pin|CAM_EN_Pin;
  GPIO_InitStruct.Mode = GPIO_MODE_OUTPUT_OD;
  GPIO_InitStruct.Pull = GPIO_NOPULL;
  GPIO_InitStruct.Speed = GPIO_SPEED_FREQ_LOW;
  HAL_GPIO_Init(GPIOA, &GPIO_InitStruct);

  /*Configure GPIO pin : MPU_INT_Pin */
  GPIO_InitStruct.Pin = MPU_INT_Pin;
  GPIO_InitStruct.Mode = GPIO_MODE_IT_FALLING;
  GPIO_InitStruct.Pull = GPIO_PULLUP;
  HAL_GPIO_Init(MPU_INT_GPIO_Port, &GPIO_InitStruct);

  /*Configure GPIO pin : SD_DETECT_Pin */
  GPIO_InitStruct.Pin = SD_DETECT_Pin;
  GPIO_InitStruct.Mode = GPIO_MODE_INPUT;
  GPIO_InitStruct.Pull = GPIO_PULLUP;
  HAL_GPIO_Init(SD_DETECT_GPIO_Port, &GPIO_InitStruct);

}

/* FSMC initialization function */
static void MX_FSMC_Init(void)
{

  FSMC_NORSRAM_TimingTypeDef Timing = {0};

  /** Perform the SRAM1 memory initialization sequence
  */
  hsram1.Instance = FSMC_NORSRAM_DEVICE;
  hsram1.Extended = FSMC_NORSRAM_EXTENDED_DEVICE;
  /* hsram1.Init */
  hsram1.Init.NSBank = FSMC_NORSRAM_BANK1;
  hsram1.Init.DataAddressMux = FSMC_DATA_ADDRESS_MUX_DISABLE;
  hsram1.Init.MemoryType = FSMC_MEMORY_TYPE_SRAM;
  hsram1.Init.MemoryDataWidth = FSMC_NORSRAM_MEM_BUS_WIDTH_8;
  hsram1.Init.BurstAccessMode = FSMC_BURST_ACCESS_MODE_DISABLE;
  hsram1.Init.WaitSignalPolarity = FSMC_WAIT_SIGNAL_POLARITY_LOW;
  hsram1.Init.WrapMode = FSMC_WRAP_MODE_DISABLE;
  hsram1.Init.WaitSignalActive = FSMC_WAIT_TIMING_BEFORE_WS;
  hsram1.Init.WriteOperation = FSMC_WRITE_OPERATION_ENABLE;
  hsram1.Init.WaitSignal = FSMC_WAIT_SIGNAL_DISABLE;
  hsram1.Init.ExtendedMode = FSMC_EXTENDED_MODE_DISABLE;
  hsram1.Init.AsynchronousWait = FSMC_ASYNCHRONOUS_WAIT_DISABLE;
  hsram1.Init.WriteBurst = FSMC_WRITE_BURST_DISABLE;
  hsram1.Init.PageSize = FSMC_PAGE_SIZE_NONE;
  /* Timing */
  Timing.AddressSetupTime = 2;
  Timing.AddressHoldTime = 15;
  Timing.DataSetupTime = 4;
  Timing.BusTurnAroundDuration = 1;
  Timing.CLKDivision = 16;
  Timing.DataLatency = 17;
  Timing.AccessMode = FSMC_ACCESS_MODE_A;
  /* ExtTiming */

  if (HAL_SRAM_Init(&hsram1, &Timing, NULL) != HAL_OK)
  {
    Error_Handler( );
  }

}

/* USER CODE BEGIN 4 */

void HAL_DCMI_LineEventCallback(DCMI_HandleTypeDef *hdcmi) {
	for (int x = 0; x < WIDTH; x++) {
		int index = x * 2;
		ST7789_SendData (camera_buffer[index + 1]);
		ST7789_SendData (camera_buffer[index]);
	}
}

void HAL_DCMI_VsyncEventCallback(DCMI_HandleTypeDef *hdcmi) {
	ST7789_SetCursorPosition (0, 0, LCD_WIDTH-1, LCD_HEIGHT-1);
}

//void HAL_DCMI_FrameEventCallback(DCMI_HandleTypeDef *hdcmi) {
//}

void HAL_TIM_OC_DelayElapsedCallback(TIM_HandleTypeDef *htim){
	if (htim->Instance == TIM14){
		  LCD_BL_GPIO_Port->BSRR = LCD_BL_Pin<<16;
	}
}

/* USER CODE END 4 */

void HAL_TIM_PeriodElapsedCallback(TIM_HandleTypeDef *htim)
{
  if (htim->Instance == TIM1) {
    HAL_IncTick();
  }
  /* USER CODE BEGIN Callback 1 */

  if (htim->Instance == TIM14){
	if (TIM14->CCR1 > 0)
	  LCD_BL_GPIO_Port->BSRR = LCD_BL_Pin;
  }
  /* USER CODE END Callback 1 */
}

void Error_Handler(void)
{
  __disable_irq();
  while (1)
  {
  }
}
